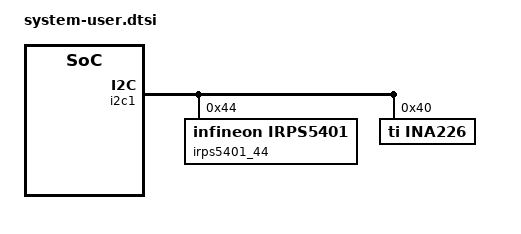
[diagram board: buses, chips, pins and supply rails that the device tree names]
/include/ "system-conf.dtsi"
/ {
	reserved-memory {
		#address-cells = <2>;
		#size-cells = <2>;
		ranges;
		linux,cma {
			compatible = "shared-dma-pool";
			reusable;
			size=<0x0 0x20000000>;
			alignment = <0x0 0x2000>;
			linux,cma-default;
		};
	};
};

&i2c1 {
	i2c-mux@74 {
		i2c@2 {
			irps5401_44: irps5401@44 {
				#clock-cells = <0>;
				compatible = "infineon,irps5401";
				reg = <0x44>;
			};
		};

		i2c@3 {
			#address-cells = <1>;
			#size-cells = <0>;
			reg = <3>;
			ina226: ina226@40 {
				compatible = "ti,ina226";
				reg = <0x40>;
				shunt-resistor = <5000>;
			};
		};
	};
};

&irps5401_4d {
	status = "disabled";
};

&vcu_0 {
	status = "disabled";
};
